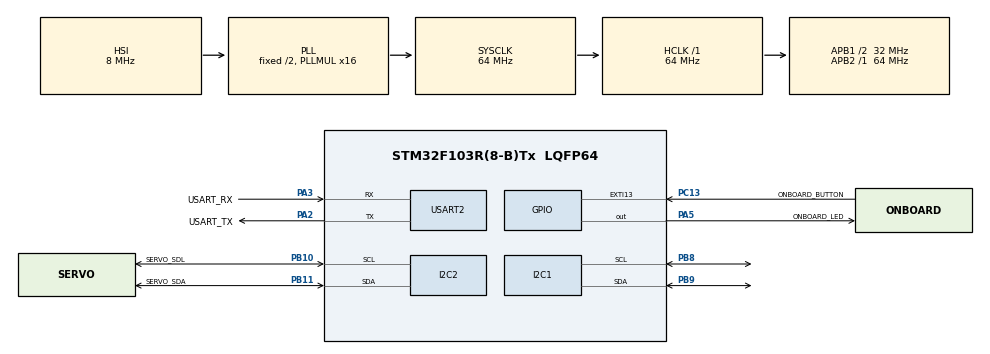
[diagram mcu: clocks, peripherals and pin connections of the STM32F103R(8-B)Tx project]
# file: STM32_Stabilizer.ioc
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I2C1.I2C_Mode=I2C_Standard
Mcu.Family=STM32F1
Mcu.Name=STM32F103R(8-B)Tx
Mcu.Package=LQFP64
NVIC.EXTI15_10_IRQn=true\:0\:0\:false\:false\:true\:true\:true
NVIC.PriorityGroup=NVIC_PRIORITYGROUP_4
NVIC.TIM4_IRQn=true\:0\:0\:false\:false\:true\:true\:true
PA13.GPIO_Label=TMS
PA13.Mode=Serial_Wire
PA13.Signal=SYS_JTMS-SWDIO
PA14.GPIO_Label=TCK
PA14.Mode=Serial_Wire
PA14.Signal=SYS_JTCK-SWCLK
PA2.GPIO_Label=USART_TX
PA2.GPIO_Mode=GPIO_MODE_AF_PP
PA2.GPIO_PuPd=GPIO_NOPULL
PA2.GPIO_Speed=GPIO_SPEED_FREQ_LOW
PA2.Mode=Asynchronous
PA2.Signal=USART2_TX
PA3.GPIO_Label=USART_RX
PA3.GPIO_Mode=GPIO_MODE_AF_PP
PA3.GPIO_PuPd=GPIO_NOPULL
PA3.GPIO_Speed=GPIO_SPEED_FREQ_LOW
PA3.Mode=Asynchronous
PA3.Signal=USART2_RX
PA5.GPIO_Label=ONBOARD_LED
PA5.GPIO_ModeDefaultOutputPP=GPIO_MODE_OUTPUT_PP
PA5.GPIO_PuPd=GPIO_NOPULL
PA5.GPIO_Speed=GPIO_SPEED_FREQ_LOW
PA5.Signal=GPIO_Output
PB10.GPIO_Label=SERVO_SDL
PB10.Mode=I2C
PB10.Signal=I2C2_SCL
PB11.GPIO_Label=SERVO_SDA
PB11.Mode=I2C
PB11.Signal=I2C2_SDA
PB3.GPIO_Label=SWO
PB3.Signal=SYS_JTDO-TRACESWO
PB8.Mode=I2C
PB8.Signal=I2C1_SCL
PB9.Mode=I2C
PB9.Signal=I2C1_SDA
PC13-TAMPER-RTC.GPIO_Label=ONBOARD_BUTTON
PC13-TAMPER-RTC.GPIO_PuPd=GPIO_NOPULL
PC13-TAMPER-RTC.Signal=GPXTI13
PC14-OSC32_IN.Mode=LSE-External-Oscillator
PC14-OSC32_IN.Signal=RCC_OSC32_IN
PC15-OSC32_OUT.Mode=LSE-External-Oscillator
PC15-OSC32_OUT.Signal=RCC_OSC32_OUT
PD0-OSC_IN.Mode=HSE-External-Clock-Source
PD0-OSC_IN.Signal=RCC_OSC_IN
PD1-OSC_OUT.Mode=HSE-External-Clock-Source
PD1-OSC_OUT.Signal=RCC_OSC_OUT
ProjectManager.HeapSize=0x200
ProjectManager.StackSize=0x400
ProjectManager.TargetToolchain=MDK-ARM V5.27
RCC.AHBFreq_Value=64000000
RCC.APB1CLKDivider=RCC_HCLK_DIV2
RCC.APB1Freq_Value=32000000
RCC.APB1TimFreq_Value=64000000
RCC.APB2Freq_Value=64000000
RCC.APB2TimFreq_Value=64000000
RCC.HCLKFreq_Value=64000000
RCC.PLLMUL=RCC_PLL_MUL16
RCC.RTCClockSelection=RCC_RTCCLKSOURCE_LSE
RCC.SYSCLKFreq_VALUE=64000000
RCC.SYSCLKSource=RCC_SYSCLKSOURCE_PLLCLK
RCC.USBFreq_Value=64000000
TIM4.Period=703
TIM4.Prescaler=1024
USART2.VirtualMode=VM_ASYNC
VP_TIM4_VS_ClockSourceINT.Mode=Internal
board=NUCLEO-F103RB

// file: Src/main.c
/* USER CODE BEGIN Header */
/**
  ******************************************************************************
  * @file           : main.c
  * @brief          : Main program body
	* @author         : VincentChan (software) | JasonNgai (mechanical)
  ******************************************************************************
  * @attention
  *
  * <h2><center>&copy; Copyright (c) 2020 STMicroelectronics.
  * All rights reserved.</center></h2>
  *
  * This software component is licensed by ST under BSD 3-Clause license,
  * the "License"; You may not use this file except in compliance with the
  * License. You may obtain a copy of the License at:
  *                        opensource.org/licenses/BSD-3-Clause
  *
  ******************************************************************************
  */
/* USER CODE END Header */

#include "main.h"

/* USER CODE BEGIN Includes */
#include <string.h>
#include <stdio.h>
#include "stdbool.h"
#include "mpu6050.h"
#include "pca9685_servo.h"
/* USER CODE END Includes */

/* USER CODE BEGIN PD */
#define MIN(x,y) ((x<y)?x:y)
#define MAX(x,y) (x>y ?x:y)
/* USER CODE END PD */

I2C_HandleTypeDef hi2c1;
I2C_HandleTypeDef hi2c2;

TIM_HandleTypeDef htim4;

UART_HandleTypeDef huart2;

/* USER CODE BEGIN PV */
MPU6050_t MPU6050;

volatile int timer_counter = 0;              //timer interrupt counter

volatile bool MPU_Sampling = false;          //flag to control sampling of MPU6050
bool average_filter = false;                 //flag to control average filtering
bool plot_curve = true;                     //flag to enable/disable curve plotting

int counter = 0;                             //sample taking counter
const int num_samples = 200;                 //number of samples for taking average

double Kalman_X_buffer = 0;                  //Storing num_samples of Kalman_X to perform averaging
double Kalman_Y_buffer = 0;                  //Storing num_samples of Kalman_Y to perform averaging

double offset_x;                             //noise remoiving from Kalman_X
double offset_y;                             //noise removing from Kalman_Y

double X_output;                             //Resultant X
double Y_output;                             //Resultant Y

enum servo_motor_type{raw_servo=0,pitch_servo=2};       //Servo motor index related to PCA9685

const int raw_init_angle = 91;                          //Initial raw angle for stabilizer   (make X_output = 0)
const int pitch_init_angle = 98;                        //Initial pitch angle for stabilizer( make Y_output = 0)

const int pitch_max = 15;                               //Mechanical limitation (please confirm with ME designer)
const int pitch_min = -15;                              //Mechanical limitation (please confirm with ME designer)

const int raw_max = 15;                                 //Mechanical limitation (please confirm with ME designer)
const int raw_min = -15;                                //Mechanical limitation (please confirm with ME designer)

int adjust_servo_pitch = 0;		                          //Fuzzy Logic Output of pitch
int servo_control_pitch = pitch_init_angle;             //Operation angle of servo motor (pitch)
int servo_control_pitch_old = 0;                        //Previous operation angle of servo motor (pitch)

int adjust_servo_raw = 0;                               //Fuzzy Logic Output of raw
int servo_control_raw = raw_init_angle;                 //Operation angle of servo motor (raw)
int servo_control_raw_old = 0;                          //Previous operation angle of servo motor (raw)

/*
When pitch_init_angle + pitch_max => KalmanX = 15
When pitch_init_angle + pitch_min => KalmanX = -15
When raw_init_angle   + raw_max   => KalmanY = 15
When raw_init_angle   + raw_min   => KalmanY = -15
*/

/* USER CODE END PV */

void SystemClock_Config(void);
static void MX_GPIO_Init(void);
static void MX_USART2_UART_Init(void);
static void MX_I2C1_Init(void);
static void MX_I2C2_Init(void);
static void MX_TIM4_Init(void);
/* USER CODE BEGIN PFP */
float trimf(float measurement, float start, float peak, float end);             //Fuzzy Logic: triangular membership function
float Rmf(float measurement, float top, float bottom);                          //Fuzzy Logic: R membership function
float Lmf(float measurement, float bottom, float top);                          //Fuzzy Logic: L membership function
float trapmf(float measurement, float start,float top_1,float top_2,float end); //Fuzzy Logic: trapezodial membership function

int raw_FLC(double error);          //raw fuzzy logic controller
int pitch_FLC(double error);        //pitch fuzzy logic controller
/* USER CODE END PFP */

/* USER CODE BEGIN 0 */
#ifdef __GNUC__
 #define PUTCHAR_PROTOTYPE int __io_putchar(int ch)
#else
 #define PUTCHAR_PROTOTYPE int fputc(int ch, FILE *f)
#endif /* __GNUC__ */
PUTCHAR_PROTOTYPE
{
	HAL_UART_Transmit(&huart2,(uint8_t*)&ch,1,0xFFFF);
	return ch;
}
/* USER CODE END 0 */

int main(void)
{

  /* MCU Configuration--------------------------------------------------------*/

  /* Reset of all peripherals, Initializes the Flash interface and the Systick. */
  HAL_Init();

  /* Configure the system clock */
  SystemClock_Config();

  /* Initialize all configured peripherals */
  MX_GPIO_Init();
  MX_USART2_UART_Init();
  MX_I2C1_Init();
  MX_I2C2_Init();
  MX_TIM4_Init();
  /* USER CODE BEGIN 2 */
	//Print system initialization message
  printf("[SYSTEM] System starts...\r\n");
	printf("[SYSTEM] Connecting to MPU6050...\r\n");

	//Connect MPU6050
  while (MPU6050_Init(&hi2c1) == 1);

	//Enable Timer 4 interrupt
	HAL_TIM_Base_Start_IT(&htim4);

	//Print MPU6050 connected message
	printf("[SYSTEM] Connection established...\r\n");

  //Noted that the libraries control the servo motor from 0 - 180
	PCA9685_Go();                                               //PCA9685 Initialization
	SetPWMFreq(50);                                             //Set Servo PWM Frequency
  setServo(pitch_servo,calculate_PWM(pitch_init_angle));      //Set init raw
	setServo(raw_servo,calculate_PWM(raw_init_angle));          //Set init pitch
	HAL_Delay(200);                                             //Delay for servo mechanical response
  /* USER CODE END 2 */

  /* Infinite loop */
  /* USER CODE BEGIN WHILE */
  while (1)
  {
		if(MPU_Sampling)
		{
			//Read MPU6050 value and processed by Kalman Filter
      MPU6050_Read_All(&hi2c1,&MPU6050);

			//Average Filter
			if(!average_filter)
			{
				//When average filer is not executed
				Kalman_Y_buffer += MPU6050.KalmanAngleY;
				Kalman_X_buffer += MPU6050.KalmanAngleX;
				if(!plot_curve)
				{
				  printf("[LOG] Counter:%d | Kalman Filter: Enabled | Average Filter: Pending\r\n",counter);
				  printf("[LOG] X: %.2f degree | Y: %.2f degree\r\n",MPU6050.KalmanAngleX,MPU6050.KalmanAngleY);
				  printf("[SYSTEM]Please do not move your gyro sensor!\r\n");
				}else{
					printf("$%d %d;\r\n",(int)MPU6050.KalmanAngleX,(int)MPU6050.KalmanAngleY);
				}
			}else{
				//When average filter is ready
				X_output = MPU6050.KalmanAngleX - offset_x;
				Y_output = MPU6050.KalmanAngleY - offset_y;
				if(!plot_curve)
				{
				  printf("[LOG] Smoothed X: %.2f | Smoothed Y: %.2f\r\n",X_output,Y_output);
				}else{
					printf("$%d %d;\r\n",(int)X_output,(int)Y_output);
				}

				//Fuzzy Logic Balancing
				adjust_servo_pitch = pitch_FLC(X_output);
				servo_control_pitch += adjust_servo_pitch;

				adjust_servo_raw = raw_FLC(Y_output);
				servo_control_raw += adjust_servo_raw;

				//Protection (Pitch servo)
				if(servo_control_pitch>=(pitch_init_angle+pitch_max))
				{
					servo_control_pitch = pitch_init_angle+pitch_max;
				}
				if(servo_control_pitch<=(pitch_init_angle+pitch_min))
				{
					servo_control_pitch = pitch_init_angle+pitch_min;
				}
				//Protection (Raw servo)
				if(servo_control_raw>=(raw_init_angle+raw_max))
				{
					servo_control_raw = raw_init_angle+raw_max;
				}
				if(servo_control_raw<=(raw_init_angle+raw_min))
				{
					servo_control_raw = raw_init_angle+raw_min;
				}

				//Adjustment
				if(!plot_curve)	printf("servo_control[pitch]:%d   servo_control[raw]:%d\r\n",servo_control_pitch,servo_control_raw);
				setServo(pitch_servo,calculate_PWM(servo_control_pitch));
				setServo(raw_servo,calculate_PWM(servo_control_raw));
        HAL_Delay(200);
				servo_control_pitch_old = servo_control_pitch;
				servo_control_raw_old = servo_control_raw;

			}

			//Find average offset
			if((counter==num_samples)&&(!average_filter))
			{
				//These statements will only be executed once after taking num_samples, then disable.
				average_filter = true;
				offset_x = Kalman_X_buffer/num_samples;
				offset_y = Kalman_Y_buffer/num_samples;
			}
			printf("\r\n");
			counter++;
		}

    /* USER CODE END WHILE */

  }
}

void SystemClock_Config(void)
{
  RCC_OscInitTypeDef RCC_OscInitStruct = {0};
  RCC_ClkInitTypeDef RCC_ClkInitStruct = {0};

  /** Initializes the CPU, AHB and APB busses clocks
  */
  RCC_OscInitStruct.OscillatorType = RCC_OSCILLATORTYPE_HSI;
  RCC_OscInitStruct.HSIState = RCC_HSI_ON;
  RCC_OscInitStruct.HSICalibrationValue = RCC_HSICALIBRATION_DEFAULT;
  RCC_OscInitStruct.PLL.PLLState = RCC_PLL_ON;
  RCC_OscInitStruct.PLL.PLLSource = RCC_PLLSOURCE_HSI_DIV2;
  RCC_OscInitStruct.PLL.PLLMUL = RCC_PLL_MUL16;
  if (HAL_RCC_OscConfig(&RCC_OscInitStruct) != HAL_OK)
  {
    Error_Handler();
  }
  /** Initializes the CPU, AHB and APB busses clocks
  */
  RCC_ClkInitStruct.ClockType = RCC_CLOCKTYPE_HCLK|RCC_CLOCKTYPE_SYSCLK
                              |RCC_CLOCKTYPE_PCLK1|RCC_CLOCKTYPE_PCLK2;
  RCC_ClkInitStruct.SYSCLKSource = RCC_SYSCLKSOURCE_PLLCLK;
  RCC_ClkInitStruct.AHBCLKDivider = RCC_SYSCLK_DIV1;
  RCC_ClkInitStruct.APB1CLKDivider = RCC_HCLK_DIV2;
  RCC_ClkInitStruct.APB2CLKDivider = RCC_HCLK_DIV1;

  if (HAL_RCC_ClockConfig(&RCC_ClkInitStruct, FLASH_LATENCY_2) != HAL_OK)
  {
    Error_Handler();
  }
}

static void MX_I2C1_Init(void)
{

  hi2c1.Instance = I2C1;
  hi2c1.Init.ClockSpeed = 100000;
  hi2c1.Init.DutyCycle = I2C_DUTYCYCLE_2;
  hi2c1.Init.OwnAddress1 = 0;
  hi2c1.Init.AddressingMode = I2C_ADDRESSINGMODE_7BIT;
  hi2c1.Init.DualAddressMode = I2C_DUALADDRESS_DISABLE;
  hi2c1.Init.OwnAddress2 = 0;
  hi2c1.Init.GeneralCallMode = I2C_GENERALCALL_DISABLE;
  hi2c1.Init.NoStretchMode = I2C_NOSTRETCH_DISABLE;
  if (HAL_I2C_Init(&hi2c1) != HAL_OK)
  {
    Error_Handler();
  }

}

static void MX_I2C2_Init(void)
{

  hi2c2.Instance = I2C2;
  hi2c2.Init.ClockSpeed = 100000;
  hi2c2.Init.DutyCycle = I2C_DUTYCYCLE_2;
  hi2c2.Init.OwnAddress1 = 0;
  hi2c2.Init.AddressingMode = I2C_ADDRESSINGMODE_7BIT;
  hi2c2.Init.DualAddressMode = I2C_DUALADDRESS_DISABLE;
  hi2c2.Init.OwnAddress2 = 0;
  hi2c2.Init.GeneralCallMode = I2C_GENERALCALL_DISABLE;
  hi2c2.Init.NoStretchMode = I2C_NOSTRETCH_DISABLE;
  if (HAL_I2C_Init(&hi2c2) != HAL_OK)
  {
    Error_Handler();
  }

}

static void MX_TIM4_Init(void)
{

  TIM_ClockConfigTypeDef sClockSourceConfig = {0};
  TIM_MasterConfigTypeDef sMasterConfig = {0};

  htim4.Instance = TIM4;
  htim4.Init.Prescaler = 1024;
  htim4.Init.CounterMode = TIM_COUNTERMODE_UP;
  htim4.Init.Period = 703;
  htim4.Init.ClockDivision = TIM_CLOCKDIVISION_DIV1;
  htim4.Init.AutoReloadPreload = TIM_AUTORELOAD_PRELOAD_DISABLE;
  if (HAL_TIM_Base_Init(&htim4) != HAL_OK)
  {
    Error_Handler();
  }
  sClockSourceConfig.ClockSource = TIM_CLOCKSOURCE_INTERNAL;
  if (HAL_TIM_ConfigClockSource(&htim4, &sClockSourceConfig) != HAL_OK)
  {
    Error_Handler();
  }
  sMasterConfig.MasterOutputTrigger = TIM_TRGO_RESET;
  sMasterConfig.MasterSlaveMode = TIM_MASTERSLAVEMODE_DISABLE;
  if (HAL_TIMEx_MasterConfigSynchronization(&htim4, &sMasterConfig) != HAL_OK)
  {
    Error_Handler();
  }

}

static void MX_USART2_UART_Init(void)
{

  huart2.Instance = USART2;
  huart2.Init.BaudRate = 115200;
  huart2.Init.WordLength = UART_WORDLENGTH_8B;
  huart2.Init.StopBits = UART_STOPBITS_1;
  huart2.Init.Parity = UART_PARITY_NONE;
  huart2.Init.Mode = UART_MODE_TX_RX;
  huart2.Init.HwFlowCtl = UART_HWCONTROL_NONE;
  huart2.Init.OverSampling = UART_OVERSAMPLING_16;
  if (HAL_UART_Init(&huart2) != HAL_OK)
  {
    Error_Handler();
  }

}

static void MX_GPIO_Init(void)
{
  GPIO_InitTypeDef GPIO_InitStruct = {0};

  /* GPIO Ports Clock Enable */
  __HAL_RCC_GPIOC_CLK_ENABLE();
  __HAL_RCC_GPIOD_CLK_ENABLE();
  __HAL_RCC_GPIOA_CLK_ENABLE();
  __HAL_RCC_GPIOB_CLK_ENABLE();

  /*Configure GPIO pin Output Level */
  HAL_GPIO_WritePin(ONBOARD_LED_GPIO_Port, ONBOARD_LED_Pin, GPIO_PIN_RESET);

  /*Configure GPIO pin : ONBOARD_BUTTON_Pin */
  GPIO_InitStruct.Pin = ONBOARD_BUTTON_Pin;
  GPIO_InitStruct.Mode = GPIO_MODE_IT_RISING;
  GPIO_InitStruct.Pull = GPIO_NOPULL;
  HAL_GPIO_Init(ONBOARD_BUTTON_GPIO_Port, &GPIO_InitStruct);

  /*Configure GPIO pin : ONBOARD_LED_Pin */
  GPIO_InitStruct.Pin = ONBOARD_LED_Pin;
  GPIO_InitStruct.Mode = GPIO_MODE_OUTPUT_PP;
  GPIO_InitStruct.Pull = GPIO_NOPULL;
  GPIO_InitStruct.Speed = GPIO_SPEED_FREQ_LOW;
  HAL_GPIO_Init(ONBOARD_LED_GPIO_Port, &GPIO_InitStruct);

  /* EXTI interrupt init*/
  HAL_NVIC_SetPriority(EXTI15_10_IRQn, 0, 0);
  HAL_NVIC_EnableIRQ(EXTI15_10_IRQn);

}

/* USER CODE BEGIN 4 */
void HAL_TIM_PeriodElapsedCallback(TIM_HandleTypeDef *htim)
{
	if(htim == &htim4)
	{
	  timer_counter++;               //  Interval = 0.01 second
		if ((timer_counter%5) == 0)    //  Every 0.05 second
	  {
		  MPU_Sampling = !MPU_Sampling;
			HAL_GPIO_TogglePin(ONBOARD_LED_GPIO_Port,ONBOARD_LED_Pin);
	  }
	}
}

float trimf(float measurement, float start, float peak, float end)
{
	float fx = 0.0;
	//Triangular Membership Function
	//Remember: end > peak > start (these values are indicating x axis)
	if(measurement <= start) fx=0;
	if((measurement > start)&&(measurement <= peak))
	{
		fx = (measurement-start)/(peak-start);
	}
	if((measurement < end)&&(measurement > peak))
	{
		fx = (end-measurement)/(end-peak);
	}
	if(measurement >= end) fx = 0;
	return fx;
}

float Rmf(float measurement, float top, float bottom)
{
	float fx = 0.0;
	//Special Trapezodial function: R-function
	//Remember: bottom > top (these values are indicating x axis)
	if(measurement>bottom) fx = 0;
	if(measurement<top) fx = 1;
	if((measurement<=bottom)&&(measurement>=top))
	{
		fx = (bottom-measurement)/(bottom-top);
	}
	return fx;
}

float Lmf(float measurement, float bottom, float top)
{
	float fx = 0.0;
	//Special Trapezodial function: L-function
	//Remember: top > bottom (these values are indicating x axis)
	if(measurement<bottom) fx = 0;
	if(measurement>top) fx = 0;
	if((measurement>=bottom)&&(measurement<=top))
	{
		fx = (measurement-bottom)/(top-bottom);
	}
	return fx;
}

float trapmf(float measurement, float start,float top_1,float top_2,float end)
{
  float fx = 0.0;
	//Trapezodial function
	//Remember: start < top_1 < top_2 <end
	if((measurement < start)||(measurement > end)) fx = 0;
	if((measurement >= start)&&(measurement <= top_1))
	{
		fx = (measurement-start)/(top_1-start);
	}
	if((measurement>=top_1)&&(measurement<=top_2))
	{
		fx = 1;
	}
	if((measurement>=top_2)&&(measurement<=end))
	{
		fx = (end-measurement)/(end-top_2);
	}
	return fx;
}
int pitch_FLC(double error)
{
	double servo_adjust = 0;
	//This controller should try to keep Y_output = 0 (balance)

	//1.Fuzzification

	//define pitch input membership functions and levels
	//1. LN  -> Largely Negative         (the object is sliding down rapidly)
	//2. N   -> Negative                 (the object is still stationary)
	//3. Z   -> Zero                     (the object is stationary)
	//4. P   -> Positive                 (the object is sliding down slowly)
  //5. LP  -> Largely Positive         (the object is sliding down rapidly)

  //2.Inferencing

  double w1 = MAX(Rmf(error,-15,-4),trimf(error,-10,-6,0));        //Inference LN & N ->(OR)
	double w2 = MAX(trimf(error,-10,-6,0),trapmf(error,-6,-2,2,6));  //Inference N & Z  ->(OR)
	double w3 = MAX(trapmf(error,-6,-2,2,6),trimf(error,0,6,10));    //Inference Z & P  ->(OR)
	double w4 = MAX(trimf(error,0,6,10),Lmf(error,4,15));            //Inference P & LP ->(OR)

	double i = MAX(w1,w2); //Negative OR Zero    ->(OR)
	double j = MAX(w3,w4); //Positive OR Zero    ->(OR)

	printf("i:%.2f j:%.2f\r\n",i,j);
	//3.Defuzzification: Weighted Average Method

	//define servo adjustment membership functions and levels
	//1. XC  -> Clockwise
	//2. CC  -> Counterclockwise
  servo_adjust = (i*pitch_max+j*pitch_min);    //Find out ratio of clockwise and and counterclocwise
	if(!plot_curve)	printf("Servo_adjust: %.2f\r\n",servo_adjust);

	return servo_adjust;
}

int raw_FLC(double error)
{
	double servo_adjust = 0;
	//This controller should try to keep Y_output = 0 (balance)

	//1.Fuzzification

	//define pitch input membership functions and levels
	//1. LN  -> Largely Negative         (the object is sliding down rapidly)
	//2. N   -> Negative                 (the object is still stationary)
	//3. Z   -> Zero                     (the object is stationary)
	//4. P   -> Positive                 (the object is sliding down slowly)
  //5. LP  -> Largely Positive         (the object is sliding down rapidly)

  //2.Inferencing

  double w1 = MAX(Rmf(error,-15,-4),trimf(error,-10,-6,0));        //Inference LN & N ->(OR)
	double w2 = MAX(trimf(error,-10,-6,0),trapmf(error,-6,-2,2,6));  //Inference N & Z  ->(OR)
	double w3 = MAX(trapmf(error,-6,-2,2,6),trimf(error,0,6,10));    //Inference Z & P  ->(OR)
	double w4 = MAX(trimf(error,0,6,10),Lmf(error,4,15));            //Inference P & LP ->(OR)

	double i = MAX(w1,w2); //Negative OR Zero    ->(OR)
	double j = MAX(w3,w4); //Positive OR Zero    ->(OR)

	printf("i:%.2f j:%.2f\r\n",i,j);
	//3.Defuzzification: Weighted Average Method

	//define servo adjustment membership functions and levels
	//1. XC  -> Clockwise
	//2. CC  -> Counterclockwise
  servo_adjust = (i*pitch_max+j*pitch_min);    //Find out ratio of clockwise and and counterclocwise
	if(!plot_curve)	printf("Servo_adjust: %.2f\r\n",servo_adjust);

	return servo_adjust;
}

/* USER CODE END 4 */

void Error_Handler(void)
{
  /* USER CODE BEGIN Error_Handler_Debug */
  /* User can add his own implementation to report the HAL error return state */
  printf("Fatal Error -> Please contact Vincent or Jason\r\n");
  /* USER CODE END Error_Handler_Debug */
}

/************************ (C) COPYRIGHT STMicroelectronics *****END OF FILE****/
